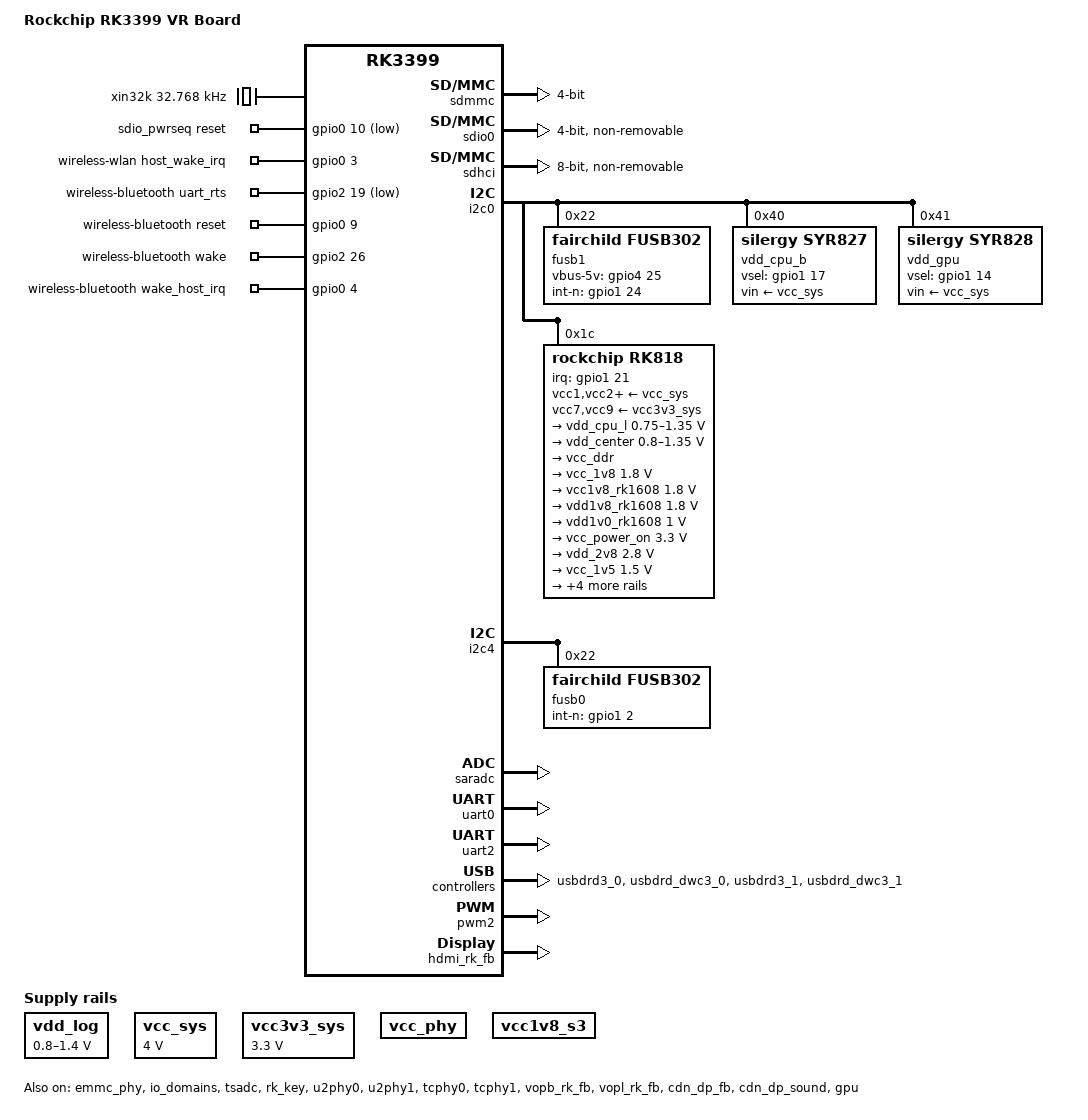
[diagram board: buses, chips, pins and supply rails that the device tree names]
/*
 * Copyright (c) 2016 Fuzhou Rockchip Electronics Co., Ltd
 *
 * This file is dual-licensed: you can use it either under the terms
 * of the GPL or the X11 license, at your option. Note that this dual
 * licensing only applies to this file, and not this project as a
 * whole.
 *
 *  a) This file is free software; you can redistribute it and/or
 *     modify it under the terms of the GNU General Public License as
 *     published by the Free Software Foundation; either version 2 of the
 *     License, or (at your option) any later version.
 *
 *     This file is distributed in the hope that it will be useful,
 *     but WITHOUT ANY WARRANTY; without even the implied warranty of
 *     MERCHANTABILITY or FITNESS FOR A PARTICULAR PURPOSE.  See the
 *     GNU General Public License for more details.
 *
 * Or, alternatively,
 *
 *  b) Permission is hereby granted, free of charge, to any person
 *     obtaining a copy of this software and associated documentation
 *     files (the "Software"), to deal in the Software without
 *     restriction, including without limitation the rights to use,
 *     copy, modify, merge, publish, distribute, sublicense, and/or
 *     sell copies of the Software, and to permit persons to whom the
 *     Software is furnished to do so, subject to the following
 *     conditions:
 *
 *     The above copyright notice and this permission notice shall be
 *     included in all copies or substantial portions of the Software.
 *
 *     THE SOFTWARE IS PROVIDED "AS IS", WITHOUT WARRANTY OF ANY KIND,
 *     EXPRESS OR IMPLIED, INCLUDING BUT NOT LIMITED TO THE WARRANTIES
 *     OF MERCHANTABILITY, FITNESS FOR A PARTICULAR PURPOSE AND
 *     NONINFRINGEMENT. IN NO EVENT SHALL THE AUTHORS OR COPYRIGHT
 *     HOLDERS BE LIABLE FOR ANY CLAIM, DAMAGES OR OTHER LIABILITY,
 *     WHETHER IN AN ACTION OF CONTRACT, TORT OR OTHERWISE, ARISING
 *     FROM, OUT OF OR IN CONNECTION WITH THE SOFTWARE OR THE USE OR
 *     OTHER DEALINGS IN THE SOFTWARE.
 */

/dts-v1/;
#include <dt-bindings/pwm/pwm.h>
#include <dt-bindings/sensor-dev.h>
#include "rk3399.dtsi"
#include "rk3399-android-6.0.dtsi"
#include "rk3399-opp.dtsi"

/ {
	model = "Rockchip RK3399 VR Board";
	compatible = "rockchip,vr", "rockchip,rk3399";

	vdd_log: vdd-log {
		compatible = "pwm-regulator";
		pwms = <&pwm2 0 25000 1>;
		rockchip,pwm_id= <2>;
		rockchip,pwm_voltage = <900000>;
		regulator-name = "vdd_log";
		regulator-min-microvolt = <800000>;
		regulator-max-microvolt = <1400000>;
		regulator-always-on;
		regulator-boot-on;
	};

	vcc_sys: vcc-sys {
		compatible = "regulator-fixed";
		regulator-name = "vcc_sys";
		regulator-always-on;
		regulator-boot-on;
		regulator-min-microvolt = <4000000>;
		regulator-max-microvolt = <4000000>;
	};

	vcc3v3_sys: vcc3v3-sys {
		compatible = "regulator-fixed";
		regulator-name = "vcc3v3_sys";
		regulator-always-on;
		regulator-boot-on;
		regulator-min-microvolt = <3300000>;
		regulator-max-microvolt = <3300000>;
	};

	vcc_phy: vcc-phy-regulator {
		compatible = "regulator-fixed";
		regulator-name = "vcc_phy";
		regulator-always-on;
		regulator-boot-on;
	};

	vcc1v8_s3: vcc1v8-s3-regulator {
		compatible = "regulator-fixed";
		regulator-name = "vcc1v8_s3";
		regulator-always-on;
		regulator-boot-on;
		regulator-state-mem {
			regulator-off-in-suspend;
		};
	};

	xin32k: xin32k {
		compatible = "fixed-clock";
		clock-frequency = <32768>;
		clock-output-names = "xin32k";
		#clock-cells = <0>;
	};

	dw_hdmi_audio: dw-hdmi-audio {
		status = "okay";
		compatible = "rockchip,dw-hdmi-audio";
		#sound-dai-cells = <0>;
	};

	hdmi_sound: hdmi-sound {
		status = "disabled";
		compatible = "simple-audio-card";
		simple-audio-card,format = "i2s";
		simple-audio-card,mclk-fs = <256>;
		simple-audio-card,name = "rockchip,hdmi";

		simple-audio-card,cpu {
			sound-dai = <&i2s2>;
		};
		simple-audio-card,codec {
			sound-dai = <&dw_hdmi_audio>;
		};
	};

	sdio_pwrseq: sdio-pwrseq {
		compatible = "mmc-pwrseq-simple";
		clocks = <&rk818 1>;
		clock-names = "ext_clock";
		pinctrl-names = "default";
		pinctrl-0 = <&wifi_enable_h>;

		/*
		 * On the module itself this is one of these (depending
		 * on the actual card populated):
		 * - SDIO_RESET_L_WL_REG_ON
		 * - PDN (power down when low)
		 */
		reset-gpios = <&gpio0 10 GPIO_ACTIVE_LOW>; /* GPIO0_B2 */
	};

	wireless-wlan {
		compatible = "wlan-platdata";
		rockchip,grf = <&grf>;
		wifi_chip_type = "ap6330";
		sdio_vref = <1800>;
		WIFI,host_wake_irq = <&gpio0 3 GPIO_ACTIVE_HIGH>; /* GPIO0_a3 */
		status = "okay";
	};

	wireless-bluetooth {
		compatible = "bluetooth-platdata";
		clocks = <&rk818 1>;
		clock-names = "ext_clock";
		//wifi-bt-power-toggle;
		uart_rts_gpios = <&gpio2 19 GPIO_ACTIVE_LOW>; /* GPIO2_C3 */
		pinctrl-names = "default", "rts_gpio";
		pinctrl-0 = <&uart0_rts>;
		pinctrl-1 = <&uart0_gpios>;
		//BT,power_gpio  = <&gpio3 19 GPIO_ACTIVE_HIGH>; /* GPIOx_xx */
		BT,reset_gpio    = <&gpio0 9 GPIO_ACTIVE_HIGH>; /* GPIO0_B1 */
		BT,wake_gpio     = <&gpio2 26 GPIO_ACTIVE_HIGH>; /* GPIO2_D2 */
		BT,wake_host_irq = <&gpio0 4 GPIO_ACTIVE_HIGH>; /* GPIO0_A4 */
		status = "okay";
	};

	uboot-charge {
		compatible = "rockchip,uboot-charge";
		rockchip,uboot-charge-on = <0>;
		rockchip,android-charge-on = <1>;
	};

	mpu6500_hid {
		status = "okay";
		compatible = "inv-hid,mpu6500";
	};
};

&sdmmc {
	clock-frequency = <150000000>;
	clock-freq-min-max = <400000 150000000>;
	supports-sd;
	bus-width = <4>;
	cap-mmc-highspeed;
	cap-sd-highspeed;
	disable-wp;
	num-slots = <1>;
	sd-uhs-sdr104;
	vqmmc-supply = <&vcc_sd>;
	pinctrl-names = "default";
	pinctrl-0 = <&sdmmc_clk &sdmmc_cmd &sdmmc_cd &sdmmc_bus4>;
	status = "okay";
};

&sdio0 {
	clock-frequency = <50000000>;
	clock-freq-min-max = <200000 50000000>;
	supports-sdio;
	bus-width = <4>;
	disable-wp;
	cap-sd-highspeed;
	cap-sdio-irq;
	keep-power-in-suspend;
	mmc-pwrseq = <&sdio_pwrseq>;
	non-removable;
	num-slots = <1>;
	pinctrl-names = "default";
	pinctrl-0 = <&sdio0_bus4 &sdio0_cmd &sdio0_clk>;
	sd-uhs-sdr104;
	status = "okay";
};

&emmc_phy {
	status = "okay";
};

&sdhci {
	bus-width = <8>;
	mmc-hs400-1_8v;
	supports-emmc;
	non-removable;
	keep-power-in-suspend;
	mmc-hs400-enhanced-strobe;
	status = "okay";
};

&i2c0 {
	status = "okay";
	i2c-scl-rising-time-ns = <219>;
	i2c-scl-falling-time-ns = <15>;
	/* clock-frequency = <400000>; */

	fusb1: fusb30x@22 {
		compatible = "fairchild,fusb302";
		reg = <0x22>;
		pinctrl-names = "default";
		pinctrl-0 = <&fusb1_int>;
		vbus-5v-gpios = <&gpio4 25 GPIO_ACTIVE_HIGH>;
		int-n-gpios = <&gpio1 24 GPIO_ACTIVE_HIGH>;
		status = "okay";
	};

	vdd_cpu_b: syr827@40 {
		compatible = "silergy,syr827";
		reg = <0x40>;
		vin-supply = <&vcc_sys>;
		regulator-compatible = "fan53555-reg";
		pinctrl-0 = <&vsel1_gpio>;
		vsel-gpios = <&gpio1 17 GPIO_ACTIVE_HIGH>;
		regulator-name = "vdd_cpu_b";
		regulator-min-microvolt = <712500>;
		regulator-max-microvolt = <1500000>;
		regulator-ramp-delay = <1000>;
		fcs,suspend-voltage-selector = <1>;
		regulator-always-on;
		regulator-initial-state = <3>;
			regulator-state-mem {
			regulator-off-in-suspend;
		};
	};

	vdd_gpu: syr828@41 {
		compatible = "silergy,syr828";
		reg = <0x41>;
		vin-supply = <&vcc_sys>;
		regulator-compatible = "fan53555-reg";
		pinctrl-0 = <&vsel2_gpio>;
		vsel-gpios = <&gpio1 14 GPIO_ACTIVE_HIGH>;
		regulator-name = "vdd_gpu";
		regulator-min-microvolt = <712500>;
		regulator-max-microvolt = <1500000>;
		regulator-ramp-delay = <1000>;
		fcs,suspend-voltage-selector = <1>;
		regulator-boot-on;
		regulator-initial-state = <3>;
		regulator-initial-mode = <1>;/*1:pwm 2: auto mode*/
			regulator-state-mem {
			regulator-off-in-suspend;
		};
	};

	rk818: pmic@1c {
		compatible = "rockchip,rk818";
		status = "okay";
		reg = <0x1c>;
		clock-output-names = "rk818-clkout1", "wifibt_32kin";
		interrupt-parent = <&gpio1>;
		interrupts = <21 IRQ_TYPE_LEVEL_LOW>;
		pinctrl-names = "default";
		pinctrl-0 = <&pmic_int_l>;
		rockchip,system-power-controller;
		wakeup-source;
		extcon = <&fusb0>;
		#clock-cells = <1>;

		vcc1-supply = <&vcc_sys>;
		vcc2-supply = <&vcc_sys>;
		vcc3-supply = <&vcc_sys>;
		vcc4-supply = <&vcc_sys>;
		vcc6-supply = <&vcc_sys>;
		vcc7-supply = <&vcc3v3_sys>;
		vcc8-supply = <&vcc_sys>;
		vcc9-supply = <&vcc3v3_sys>;

		regulators {
			vdd_cpu_l: DCDC_REG1 {
				regulator-name = "vdd_cpu_l";
				regulator-always-on;
				regulator-boot-on;
				regulator-min-microvolt = <750000>;
				regulator-max-microvolt = <1350000>;
				regulator-ramp-delay = <6001>;
				regulator-state-mem {
					regulator-off-in-suspend;
				};
			};

			vdd_center: DCDC_REG2 {
				regulator-name = "vdd_center";
				regulator-always-on;
				regulator-boot-on;
				regulator-min-microvolt = <800000>;
				regulator-max-microvolt = <1350000>;
				regulator-ramp-delay = <6001>;
				regulator-state-mem {
					regulator-off-in-suspend;
				};
			};

			vcc_ddr: DCDC_REG3 {
				regulator-name = "vcc_ddr";
				regulator-always-on;
				regulator-boot-on;
				regulator-state-mem {
					regulator-on-in-suspend;
				};
			};

			vcc_1v8: DCDC_REG4 {
				regulator-name = "vcc_1v8";
				regulator-always-on;
				regulator-boot-on;
				regulator-min-microvolt = <1800000>;
				regulator-max-microvolt = <1800000>;
				regulator-state-mem {
					regulator-on-in-suspend;
					regulator-suspend-microvolt = <1800000>;
				};
			};

			vcc1v8_rk1608: LDO_REG1 {
				//regulator-always-on;
				//regulator-boot-on;
				regulator-min-microvolt = <1800000>;
				regulator-max-microvolt = <1800000>;
				regulator-name = "vcc1v8_rk1608";
				regulator-state-mem {
					regulator-off-in-suspend;
				};
			};

			vdd1v8_rk1608: LDO_REG2 {
				//regulator-always-on;
				//regulator-boot-on;
				regulator-min-microvolt = <1800000>;
				regulator-max-microvolt = <1800000>;
				regulator-name = "vdd1v8_rk1608";
				regulator-state-mem {
					regulator-off-in-suspend;
				};
			};

			vdd1v0_rk1608: LDO_REG3 {
				//regulator-always-on;
				//regulator-boot-on;
				regulator-min-microvolt = <1000000>;
				regulator-max-microvolt = <1000000>;
				regulator-name = "vdd1v0_rk1608";
				regulator-state-mem {
					regulator-off-in-suspend;
				};
			};

			vcc_power_on: LDO_REG4 {
				regulator-always-on;
				regulator-boot-on;
				regulator-min-microvolt = <3300000>;
				regulator-max-microvolt = <3300000>;
				regulator-name = "vcc_power_on";
				regulator-state-mem {
					regulator-on-in-suspend;
					regulator-suspend-microvolt = <3300000>;
				};
			};

			vdd_2v8: LDO_REG5 {
				//regulator-always-on;
				//regulator-boot-on;
				regulator-min-microvolt = <2800000>;
				regulator-max-microvolt = <2800000>;
				regulator-name = "vdd_2v8";
				regulator-state-mem {
					regulator-on-in-suspend;
					regulator-suspend-microvolt = <2800000>;
				};
			};

			vcc_1v5: LDO_REG6 {
				//regulator-always-on;
				//regulator-boot-on;
				regulator-min-microvolt = <1500000>;
				regulator-max-microvolt = <1500000>;
				regulator-name = "vcc_1v5";
				regulator-state-mem {
					regulator-on-in-suspend;
					regulator-suspend-microvolt = <1500000>;
				};
			};

			vcc1v8_dvp: LDO_REG7 {
				//regulator-always-on;
				//regulator-boot-on;
				regulator-min-microvolt = <1800000>;
				regulator-max-microvolt = <1800000>;
				regulator-name = "vcc1v8_dvp";
				regulator-state-mem {
					regulator-on-in-suspend;
					regulator-suspend-microvolt = <1800000>;
				};
			};

			vcc3v3_s3: LDO_REG8 {
				regulator-always-on;
				regulator-boot-on;
				regulator-min-microvolt = <3300000>;
				regulator-max-microvolt = <3300000>;
				regulator-name = "vcc3v3_s3";
				regulator-state-mem {
					regulator-on-in-suspend;
					regulator-suspend-microvolt = <3300000>;
				};
			};

			vcc_sd: LDO_REG9 {
				regulator-always-on;
				regulator-boot-on;
				regulator-min-microvolt = <1800000>;
				regulator-max-microvolt = <3000000>;
				regulator-name = "vcc_sd";
				regulator-state-mem {
					regulator-on-in-suspend;
					regulator-suspend-microvolt = <3000000>;
				};
			};

			vcc3v3_s0: SWITCH_REG {
				regulator-always-on;
				regulator-boot-on;
				regulator-name = "vcc3v3_s0";
				regulator-state-mem {
					regulator-on-in-suspend;
				};
			};
		};

		battery {
			compatible = "rk818-battery";
			ocv_table = <
				3400 3599 3671 3701 3728 3746 3762
				3772 3781 3792 3816 3836 3866 3910
				3942 3971 4002 4050 4088 4132 4183>;
			design_capacity = <4000>;
			design_qmax = <4100>;
			bat_res = <100>;
			max_input_current = <2000>;
			max_chrg_current = <1800>;
			max_chrg_voltage = <4200>;
			sleep_enter_current = <300>;
			sleep_exit_current = <300>;
			power_off_thresd = <3400>;
			zero_algorithm_vol = <3850>;
			fb_temperature = <115>;
			sample_res = <10>;
			max_soc_offset = <60>;
			energy_mode = <0>;
			monitor_sec = <5>;
			virtual_power = <1>;
			power_dc2otg = <0>;
		};
	};
};

&i2c4 {
	status = "okay";
	i2c-scl-rising-time-ns = <345>;
	i2c-scl-falling-time-ns = <11>;

	fusb0: fusb30x@22 {
		compatible = "fairchild,fusb302";
		reg = <0x22>;
		pinctrl-names = "default";
		pinctrl-0 = <&fusb0_int>;
		int-n-gpios = <&gpio1 2 GPIO_ACTIVE_HIGH>;
		status = "okay";
	};
};

&io_domains {
	status = "okay";

	bt656-supply = <&vcc1v8_s3>;
	audio-supply = <&vcc1v8_s3>;
	sdmmc-supply = <&vcc_sd>;
	gpio1830-supply = <&vcc1v8_s3>;
};

&threshold {
	temperature = <85000>; /* millicelsius */
};

&target {
	temperature = <100000>; /* millicelsius */
};

&soc_crit {
	temperature = <115000>; /* millicelsius */
};

&tsadc {
	rockchip,hw-tshut-mode = <1>; /* tshut mode 0:CRU 1:GPIO */
	rockchip,hw-tshut-polarity = <1>; /* tshut polarity 0:LOW 1:HIGH */
	rockchip,hw-tshut-temp = <120000>;
	status = "okay";
};

&saradc {
	status = "okay";
};

&rk_key {
	compatible = "rockchip,key";
	status = "okay";
	io-channels = <&saradc 1>;

	power-key {
		gpios = <&gpio0 5 GPIO_ACTIVE_LOW>;
		linux,code = <116>;
		label = "power";
		gpio-key,wakeup;
	};
};

&u2phy0 {
	extcon = <&fusb0>;
	status = "okay";

	u2phy0_otg: otg-port {
		status = "okay";
	};
};

&u2phy1 {
	extcon = <&fusb1>;
	status = "okay";

	u2phy1_otg: otg-port {
		status = "okay";
	};
};

&uart0 {
	pinctrl-names = "default";
	pinctrl-0 = <&uart0_xfer &uart0_cts>;
	status = "okay";
};

&uart2 {
	status = "okay";
};

&usbdrd3_0 {
	extcon = <&fusb0>;
	status = "okay";
};

&usbdrd_dwc3_0 {
	status = "okay";
};

&usbdrd3_1 {
	extcon = <&fusb1>;
	status = "okay";
};

&usbdrd_dwc3_1 {
	status = "okay";
};

&tcphy0 {
	status = "okay";
	extcon = <&fusb0>;
};

&tcphy1 {
	status = "okay";
	extcon = <&fusb1>;
};

&pwm2 {
	status = "okay";
	pinctrl-names = "active";
	pinctrl-0 = <&pwm2_pin_pull_down>;
};

&rk_screen {
	#include <dt-bindings/display/screen-timing/lcd-box.dtsi>
};

&disp_timings {
	native-mode = <&timing0>; /* 720p */
};

&timing0 {
	screen-width = <130>;
	screen-hight = <72>;
};
/*
&fb {
	rockchip,uboot-logo-on = <1>;
	rockchip,disp-mode = <NO_DUAL>;
	//rockchip,disp-policy = <DISPLAY_POLICY_BOX>;
};
*/
&vopb_rk_fb {
	status = "okay";
};

&vopl_rk_fb {
	status = "okay";
};

&hdmi_rk_fb {
	status = "okay";
	rockchip,hdmi_video_source = <DISPLAY_SOURCE_LCDC1>;
};

&cdn_dp_fb {
	status = "okay";
	extcon = <&fusb0>, <&fusb1>;
	dp_vop_sel = <DISPLAY_SOURCE_LCDC0>;
};

&cdn_dp_sound {
	status = "okay";
};

&cpu_l0 {
	cpu-supply = <&vdd_cpu_l>;
};

&cpu_l1 {
	cpu-supply = <&vdd_cpu_l>;
};

&cpu_l2 {
	cpu-supply = <&vdd_cpu_l>;
};

&cpu_l3 {
	cpu-supply = <&vdd_cpu_l>;
};

&cpu_b0 {
	cpu-supply = <&vdd_cpu_b>;
};

&cpu_b1 {
	cpu-supply = <&vdd_cpu_b>;
};

&gpu {
	status = "okay";
	mali-supply = <&vdd_gpu>;
};

&pmu_io_domains {
	status = "okay";
	pmu1830-supply = <&vcc_1v8>;
};

&pinctrl {
	sdio-pwrseq {
		wifi_enable_h: wifi-enable-h {
			rockchip,pins = <0 10 RK_FUNC_GPIO &pcfg_pull_none>;
		};
	};

	wireless-bluetooth {
		uart0_gpios: uart0-gpios {
			rockchip,pins = <2 19 RK_FUNC_GPIO &pcfg_pull_none>;
		};
	};

	pmic {
		pmic_int_l: pmic-int-l {
			rockchip,pins =
				<1 21 RK_FUNC_GPIO &pcfg_pull_up>;
		};

		vsel1_gpio: vsel1-gpio {
			rockchip,pins =
				<1 17 RK_FUNC_GPIO &pcfg_pull_down>;
		};

		vsel2_gpio: vsel2-gpio {
			rockchip,pins =
				<1 14 RK_FUNC_GPIO &pcfg_pull_down>;
		};
	};

	spi1 {
		spi1_gpio: spi1-gpio {
			rockchip,pins =
				<1 7 RK_FUNC_GPIO &pcfg_output_low>,
				<1 8 RK_FUNC_GPIO &pcfg_output_low>,
				<1 9 RK_FUNC_GPIO &pcfg_output_low>,
				<1 10 RK_FUNC_GPIO &pcfg_output_low>;
		};
	};

	fusb30x {
		fusb0_int: fusb0-int {
			rockchip,pins = <1 2 RK_FUNC_GPIO &pcfg_pull_up>;
		};

		fusb1_int: fusb1-int {
			rockchip,pins = <1 24 RK_FUNC_GPIO &pcfg_pull_up>;
		};
	};
};
